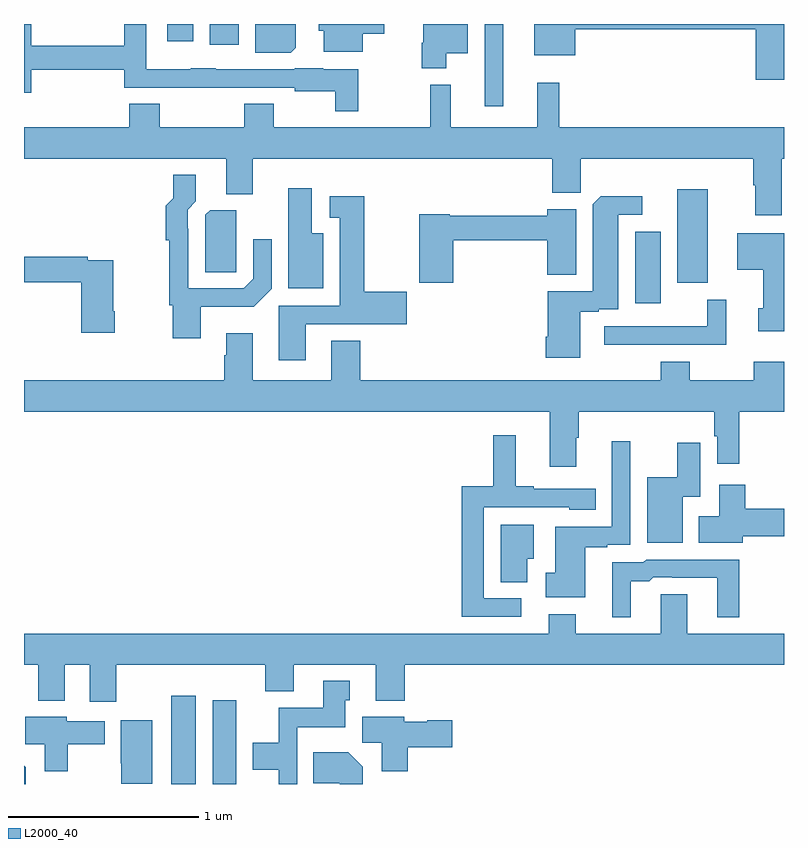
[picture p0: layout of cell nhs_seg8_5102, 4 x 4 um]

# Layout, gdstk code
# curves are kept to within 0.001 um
import gdstk
lib = gdstk.Library(unit=1e-6, precision=1e-09)
def R(c, l, rs):  # rectangles x0, y0, x1, y1
    for r in rs: c.add(gdstk.rectangle(r[:2], r[2:], *l))
def P(c, l, *ps):  # polygons
    for p in ps: c.add(gdstk.Polygon(p, *l))
L2000_40 = (2000, 40)

nhs_seg8_5102 = lib.new_cell('nhs_seg8_5102')
R(nhs_seg8_5102, L2000_40, [(419.774,1087.9,419.905,1088.365), (419.993,1087.9,420.118,1088.341), (422.216,1090.431,422.35,1090.807), (422.438,1090.539,422.599,1091.029), (421.425,1091.466,421.522,1091.9), (419.978,1091.79,420.13,1091.9), (419.753,1091.808,419.89,1091.9)])
P(nhs_seg8_5102, L2000_40, [(423,1091.9),(421.685,1091.9),(421.685,1091.735),(421.9,1091.735),(421.9,1091.872),(422.852,1091.872),(422.852,1091.607),(423,1091.607)],
  [(420.784,1091.849),(420.895,1091.849),(420.895,1091.9),(420.551,1091.9),(420.551,1091.865),(420.578,1091.865),(420.578,1091.753),(420.784,1091.753)],
  [(420.43,1091.776),(420.43,1091.9),(420.218,1091.9),(420.218,1091.75),(420.404,1091.75)],
  [(421.222,1091.747),(421.336,1091.747),(421.336,1091.9),(421.1,1091.9),(421.1,1091.802),(421.093,1091.802),(421.093,1091.666),(421.222,1091.666)],
  [(420.76,1091.662),(420.576,1091.662),(420.576,1091.668),(420.426,1091.668),(420.426,1091.661),(420.009,1091.661),(420.009,1091.668),(419.877,1091.668),(419.877,1091.662),(419.643,1091.662),(419.643,1091.9),(419.527,1091.9),(419.527,1091.786),(419.039,1091.786),(419.039,1091.899),(419,1091.899),(419,1091.538),(419.039,1091.538),(419.039,1091.658),(419.527,1091.658),(419.527,1091.565),(419.777,1091.565),(419.777,1091.564),(420.009,1091.564),(420.009,1091.565),(420.426,1091.565),(420.426,1091.546),(420.639,1091.546),(420.639,1091.441),(420.76,1091.441)],
  [(422.989,1091.192),(423,1091.192),(423,1091.356),(421.817,1091.356),(421.817,1091.59),(421.7,1091.59),(421.7,1091.356),(421.247,1091.356),(421.247,1091.581),(421.137,1091.581),(421.137,1091.356),(420.315,1091.356),(420.315,1091.48),(420.16,1091.48),(420.16,1091.356),(419.715,1091.356),(419.715,1091.48),(419.555,1091.48),(419.555,1091.356),(419,1091.356),(419,1091.192),(420.065,1091.192),(420.065,1091.005),(420.205,1091.005),(420.205,1091.192),(421.781,1091.192),(421.781,1091.011),(421.931,1091.011),(421.931,1091.192),(422.837,1091.192),(422.837,1091.051),(422.849,1091.051),(422.849,1090.893),(422.989,1090.893)],
  [(419.929,1090.412),(420.209,1090.412),(420.303,1090.506),(420.303,1090.768),(420.207,1090.768),(420.207,1090.56),(420.156,1090.509),(419.865,1090.509),(419.865,1090.823),(419.862,1090.823),(419.862,1090.923),(419.905,1090.966),(419.905,1091.107),(419.785,1091.107),(419.785,1090.983),(419.747,1090.944),(419.747,1090.762),(419.764,1090.762),(419.764,1090.419),(419.782,1090.419),(419.782,1090.245),(419.929,1090.245)],
  [(420.574,1090.798),(420.514,1090.798),(420.514,1091.035),(420.392,1091.035),(420.392,1090.508),(420.574,1090.508)],
  [(421.927,1090.386),(422.024,1090.386),(422.024,1090.398),(422.128,1090.398),(422.128,1090.896),(422.254,1090.896),(422.254,1090.994),(422.035,1090.994),(421.994,1090.952),(421.994,1090.494),(421.757,1090.494),(421.757,1090.255),(421.745,1090.255),(421.745,1090.143),(421.927,1090.143)],
  [(420.484,1090.32),(420.753,1090.32),(420.753,1090.319),(421.015,1090.319),(421.015,1090.49),(420.792,1090.49),(420.792,1090.993),(420.609,1090.993),(420.609,1090.88),(420.662,1090.88),(420.662,1090.416),(420.341,1090.416),(420.341,1090.131),(420.484,1090.131)],
  [(421.259,1090.762),(421.754,1090.762),(421.754,1090.579),(421.906,1090.579),(421.906,1090.926),(421.754,1090.926),(421.754,1090.891),(421.242,1090.891),(421.242,1090.899),(421.081,1090.899),(421.081,1090.539),(421.259,1090.539)],
  [(420.117,1090.705),(420.118,1090.705),(420.118,1090.92),(419.979,1090.92),(419.955,1090.896),(419.955,1090.594),(420.117,1090.594)],
  [(423,1090.798),(422.753,1090.798),(422.753,1090.607),(422.89,1090.607),(422.89,1090.405),(422.864,1090.405),(422.864,1090.283),(423,1090.283)],
  [(419.478,1090.387),(419.47,1090.387),(419.47,1090.656),(419.336,1090.656),(419.336,1090.676),(419,1090.676),(419,1090.54),(419.3,1090.54),(419.3,1090.275),(419.478,1090.275)],
  [(422.695,1090.45),(422.596,1090.45),(422.596,1090.308),(422.055,1090.308),(422.055,1090.212),(422.695,1090.212)],
  [(421.906,1089.723),(421.919,1089.723),(421.919,1089.86),(422.633,1089.86),(422.633,1089.731),(422.649,1089.731),(422.649,1089.585),(422.765,1089.585),(422.765,1089.86),(423,1089.86),(423,1090.123),(422.842,1090.123),(422.842,1090.024),(422.505,1090.024),(422.505,1090.123),(422.35,1090.123),(422.35,1090.024),(420.77,1090.024),(420.77,1090.234),(420.617,1090.234),(420.617,1090.024),(420.205,1090.024),(420.205,1090.273),(420.065,1090.273),(420.065,1090.157),(420.053,1090.157),(420.053,1090.024),(419,1090.024),(419,1089.86),(421.766,1089.86),(421.766,1089.57),(421.906,1089.57)],
  [(421.618,1088.877),(421.419,1088.877),(421.419,1089.357),(421.869,1089.357),(421.869,1089.344),(422.009,1089.344),(422.009,1089.453),(421.684,1089.453),(421.684,1089.466),(421.588,1089.466),(421.588,1089.736),(421.471,1089.736),(421.471,1089.466),(421.303,1089.466),(421.303,1088.781),(421.618,1088.781)],
  [(421.954,1089.147),(422.069,1089.147),(422.069,1089.159),(422.19,1089.159),(422.19,1089.703),(422.094,1089.703),(422.094,1089.255),(421.796,1089.255),(421.796,1089.012),(421.746,1089.012),(421.746,1088.882),(421.954,1088.882)],
  [(422.467,1089.413),(422.559,1089.413),(422.559,1089.697),(422.438,1089.697),(422.438,1089.514),(422.279,1089.514),(422.279,1089.17),(422.467,1089.17)],
  [(422.782,1089.203),(423,1089.203),(423,1089.35),(422.795,1089.35),(422.795,1089.475),(422.66,1089.475),(422.66,1089.31),(422.552,1089.31),(422.552,1089.17),(422.782,1089.17)],
  [(421.648,1089.086),(421.684,1089.086),(421.684,1089.265),(421.508,1089.265),(421.508,1088.962),(421.648,1088.962)],
  [(422.194,1088.966),(422.291,1088.966),(422.313,1088.988),(422.413,1088.988),(422.413,1088.985),(422.648,1088.985),(422.648,1088.777),(422.765,1088.777),(422.765,1089.081),(422.274,1089.081),(422.259,1089.066),(422.096,1089.066),(422.096,1088.777),(422.194,1088.777)],
  [(419.485,1088.528),(420.269,1088.528),(420.269,1088.387),(420.421,1088.387),(420.421,1088.528),(420.851,1088.528),(420.851,1088.339),(421.004,1088.339),(421.004,1088.528),(423,1088.528),(423,1088.692),(422.491,1088.692),(422.491,1088.9),(422.351,1088.9),(422.351,1088.692),(421.903,1088.692),(421.903,1088.794),(421.763,1088.794),(421.763,1088.692),(419,1088.692),(419,1088.528),(419.075,1088.528),(419.075,1088.339),(419.215,1088.339),(419.215,1088.528),(419.345,1088.528),(419.345,1088.334),(419.485,1088.334)],
  [(420.438,1088.198),(420.691,1088.198),(420.691,1088.34),(420.715,1088.34),(420.715,1088.443),(420.575,1088.443),(420.575,1088.302),(420.34,1088.302),(420.34,1088.116),(420.203,1088.116),(420.203,1087.976),(420.342,1087.976),(420.342,1087.9),(420.438,1087.9)],
  [(419.23,1088.108),(419.425,1088.108),(419.425,1088.23),(419.226,1088.23),(419.226,1088.254),(419.006,1088.254),(419.006,1088.11),(419.108,1088.11),(419.108,1087.968),(419.23,1087.968)],
  [(421.019,1088.093),(421.255,1088.093),(421.255,1088.235),(421.122,1088.235),(421.122,1088.227),(421.002,1088.227),(421.002,1088.254),(420.779,1088.254),(420.779,1088.116),(420.884,1088.116),(420.884,1087.968),(421.019,1087.968)],
  [(419.674,1088.236),(419.51,1088.236),(419.51,1088.008),(419.512,1088.008),(419.512,1087.901),(419.674,1087.901)],
  [(420.784,1087.99),(420.706,1088.068),(420.523,1088.068),(420.523,1087.904),(420.662,1087.904),(420.662,1087.9),(420.784,1087.9)],
  [(419.008,1087.987),(419,1087.995),(419,1087.9),(419.008,1087.9)])

lib.write_gds('nhs_seg8_5102.gds')
